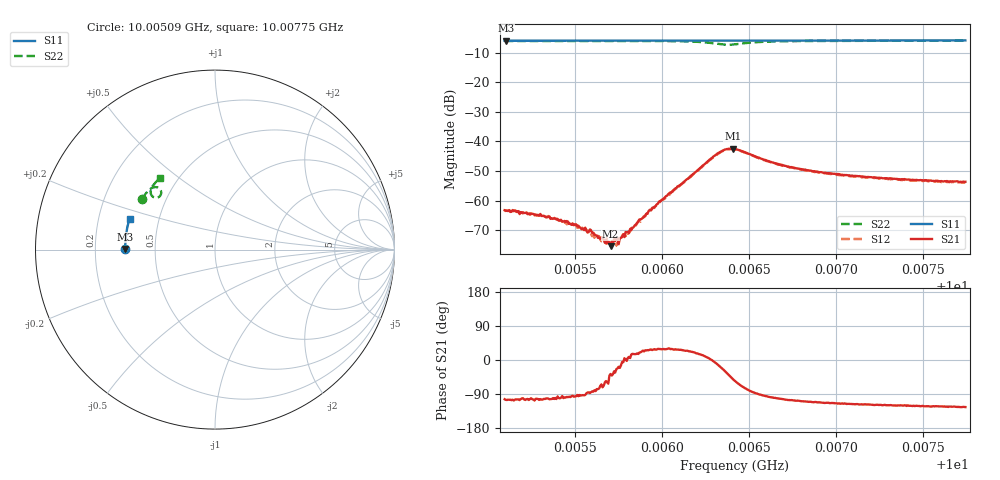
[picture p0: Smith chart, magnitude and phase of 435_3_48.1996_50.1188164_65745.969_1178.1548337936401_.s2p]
#  HZ  S  RI  R  50.00
! Rohde & Schwarz Vector Network Analyzer
! Rohde-Schwarz,ZNB20-2Port,1311601062101988,3.16
! Created: UTC 3/20/2024, 11:55:36 AM
! freq[Hz]  re:S11  im:S11  re:S21  im:S21  re:S12  im:S12  re:S22  im:S22
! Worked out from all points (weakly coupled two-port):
!   401 points, 10.00509 GHz to 10.00775 GHz, reference 50 ohm
!   highest |S21| = -42.46 dB at 10.00641 GHz (marker M1); lowest = -75.4 dB at 10.0057 GHz (marker M2)
!   lowest |S11| = -6.0 dB at 10.0051 GHz (marker M3), VSWR 3.00, Z = 16.7 + j0.17 ohm
!   |S11| at or under -10 dB: nowhere
!   |S22| runs from -7.4 to -6.0 dB; largest |S21 - S12| = 0.00048
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1.0005092e10  -0.5002 0.00329  -0.000161 -0.000672  -0.000163 -0.000655  -0.4061 0.2829
1.0005099e10  -0.5001 0.00382  -0.000178 -0.000656  -0.000165 -0.00065  -0.4058 0.2833
1.0005378e10  -0.5002 0.022  -0.000112 -0.000491  -0.000111 -0.000499  -0.395 0.2995
1.000551e10  -0.5 0.0305  -1.43e-05 -0.000373  -3.75e-05 -0.000347  -0.3892 0.3076
1.0005537e10  -0.5001 0.0323  -1.72e-05 -0.000326  2.67e-05 -0.000351  -0.3879 0.3092
1.0005597e10  -0.4999 0.0362  3.57e-05 -0.000285  4.01e-05 -0.000248  -0.3852 0.3129
1.000563e10  -0.4998 0.0383  5.35e-05 -0.00023  7.9e-05 -0.000236  -0.3834 0.3149
1.0005663e10  -0.4995 0.0404  8.37e-05 -0.000206  0.000107 -0.000181  -0.3818 0.3169
1.0005676e10  -0.4996 0.0414  0.000125 -0.000182  0.000119 -0.000146  -0.3812 0.3177
1.0005703e10  -0.4994 0.0429  0.000136 -0.000102  0.000116 -0.000131  -0.3796 0.3194
1.0005749e10  -0.4993 0.046  0.000175 -5.61e-05  0.000197 -6.03e-05  -0.3771 0.3222
1.0005782e10  -0.4992 0.0481  0.000242 1.94e-05  0.00027 1.99e-05  -0.3754 0.3245
1.0005802e10  -0.4992 0.0495  0.000297 2.96e-05  0.000272 4e-05  -0.3741 0.3257
1.0005981e10  -0.4982 0.061  0.000841 0.000467  0.000794 0.00048  -0.3609 0.3375
1.0006307e10  -0.4952 0.0821  0.00585 -0.000739  0.00575 -0.000429  -0.3027 0.3309
1.000636e10  -0.4947 0.0851  0.00637 -0.0035  0.00637 -0.00309  -0.3019 0.3063
1.0006406e10  -0.4945 0.0878  0.00486 -0.00575  0.00505 -0.00537  -0.3188 0.2904
1.0006419e10  -0.4943 0.0886  0.00424 -0.00611  0.00446 -0.00576  -0.3251 0.289
1.0006652e10  -0.4925 0.1034  -0.000735 -0.00422  -0.000563 -0.00418  -0.3583 0.329
1.0006864e10  -0.49 0.1171  -0.00114 -0.00294  -0.000958 -0.00296  -0.3492 0.3514
1.0007308e10  -0.4834 0.145  -0.00117 -0.00206  -0.00104 -0.00208  -0.3264 0.3794
1.0007746e10  -0.4753 0.172  -0.00117 -0.00172  -0.00104 -0.00172  -0.3042 0.4006
